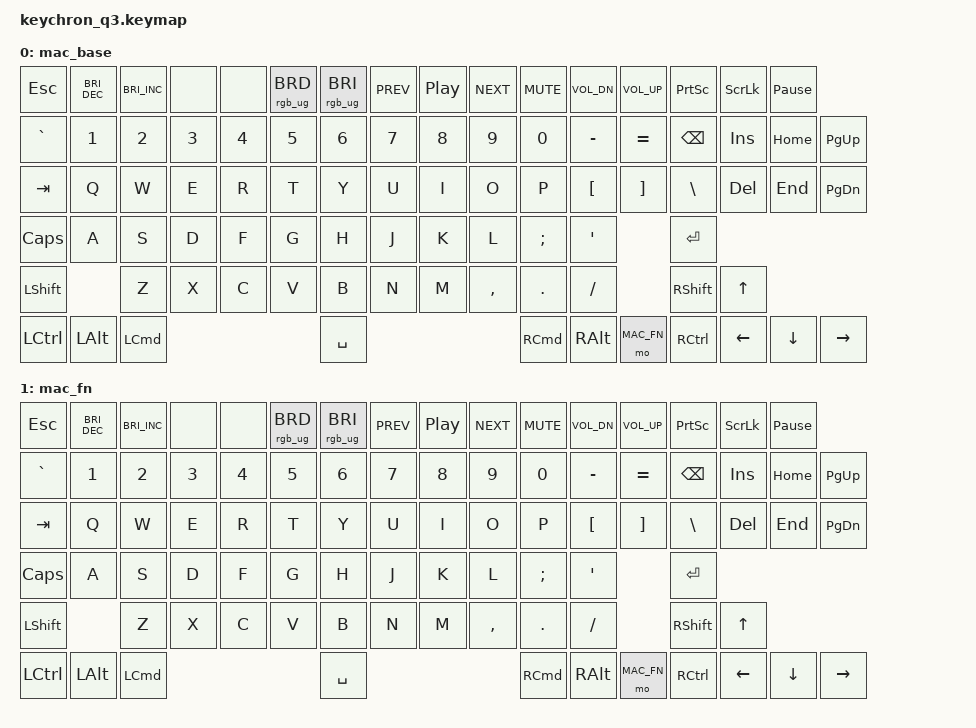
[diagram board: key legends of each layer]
/*
 * Copyright (c) 2022-2023 XiNGRZ
 * SPDX-License-Identifier: MIT
 */

#include <behaviors.dtsi>
#include <dt-bindings/zmk/keys.h>
#include <dt-bindings/zmk/rgb.h>

#define MAC_BASE 0
#define MAC_FN 1
#define WIN_BASE 2
#define WIN_FN 3

/ {
	macros {
		lock_mac: lock_mac {
			label = "lock_mac";
			compatible = "zmk,behavior-macro";
			#binding-cells = <0>;
			bindings =
				<&macro_press   &kp LCTRL>,
				<&macro_press   &kp LCMD>,
				<&macro_tap     &kp Q>,
				<&macro_release &kp LCMD>,
				<&macro_release &kp LCTRL>;
		};

		lock_win: lock_win {
			label = "lock_mac";
			compatible = "zmk,behavior-macro";
			#binding-cells = <0>;
			bindings =
				<&macro_press   &kp RWIN>,
				<&macro_tap     &kp L>,
				<&macro_release &kp RWIN>;
		};
	};

  /* TODO(ibash) setup keymaps */
	keymap {
		compatible = "zmk,keymap";

		mac_base {
			bindings = <
				&kp ESC   &kp C_BRI_DEC &kp C_BRI_INC &none   &none   &rgb_ug RGB_BRD &rgb_ug RGB_BRI &kp C_PREV  &kp C_PP  &kp C_NEXT  &kp C_MUTE  &kp C_VOL_DN  &kp C_VOL_UP  &kp PSCRN  &kp SLCK  &kp PAUSE_BREAK
				&kp GRAVE &kp N1        &kp N2        &kp N3  &kp N4  &kp N5          &kp N6          &kp N7      &kp N8    &kp N9      &kp N0      &kp MINUS     &kp EQUAL     &kp BSPC   &kp INS   &kp HOME  &kp PG_UP
				&kp TAB   &kp Q         &kp W         &kp E   &kp R   &kp T           &kp Y           &kp U       &kp I     &kp O       &kp P       &kp LBKT      &kp RBKT      &kp BSLH   &kp DEL   &kp END   &kp PG_DN
				&kp CLCK  &kp A         &kp S         &kp D   &kp F   &kp G           &kp H           &kp J       &kp K     &kp L       &kp SEMI    &kp SQT                     &kp RET                      
				&kp LSHFT               &kp Z         &kp X   &kp C   &kp V           &kp B           &kp N       &kp M     &kp COMMA   &kp DOT     &kp FSLH                    &kp RSHFT &kp UP
				&kp LCTRL &kp LALT      &kp LCMD                                      &kp SPACE                                         &kp RCMD    &kp RALT      &mo MAC_FN    &kp RCTRL     &kp LEFT  &kp DOWN  &kp RIGHT
			>;
			/*sensor-bindings = <&inc_dec_kp C_VOL_DN C_VOL_UP>;*/
		};

    /* TODO(ibash) make this trans and fn */
		mac_fn {
			bindings = <
				&kp ESC   &kp C_BRI_DEC &kp C_BRI_INC &none   &none   &rgb_ug RGB_BRD &rgb_ug RGB_BRI &kp C_PREV  &kp C_PP  &kp C_NEXT  &kp C_MUTE  &kp C_VOL_DN  &kp C_VOL_UP  &kp PSCRN  &kp SLCK  &kp PAUSE_BREAK
				&kp GRAVE &kp N1        &kp N2        &kp N3  &kp N4  &kp N5          &kp N6          &kp N7      &kp N8    &kp N9      &kp N0      &kp MINUS     &kp EQUAL     &kp BSPC   &kp INS   &kp HOME  &kp PG_UP
				&kp TAB   &kp Q         &kp W         &kp E   &kp R   &kp T           &kp Y           &kp U       &kp I     &kp O       &kp P       &kp LBKT      &kp RBKT      &kp BSLH   &kp DEL   &kp END   &kp PG_DN
				&kp CLCK  &kp A         &kp S         &kp D   &kp F   &kp G           &kp H           &kp J       &kp K     &kp L       &kp SEMI    &kp SQT                     &kp RET                      
				&kp LSHFT               &kp Z         &kp X   &kp C   &kp V           &kp B           &kp N       &kp M     &kp COMMA   &kp DOT     &kp FSLH                    &kp RSHFT &kp UP
				&kp LCTRL &kp LALT      &kp LCMD                                      &kp SPACE                                         &kp RCMD    &kp RALT      &mo MAC_FN    &kp RCTRL     &kp LEFT  &kp DOWN  &kp RIGHT
			>;
			/*sensor-bindings = <&inc_dec_kp C_VOL_DN C_VOL_UP>;*/
		};


    /*
		mac_fn {
			bindings = <
				&trans          &kp F1          &kp F2          &kp F3          &kp F4          &kp F5          &kp F6  &kp F7  &kp F8  &kp F9  &kp F10 &kp F11 &kp F12 &trans          &trans
				&trans          &trans          &trans          &trans          &trans          &trans          &trans  &trans  &trans  &trans  &trans  &trans  &trans  &trans          &trans
				&rgb_ug RGB_TOG &rgb_ug RGB_EFF &rgb_ug RGB_BRI &rgb_ug RGB_HUI &rgb_ug RGB_SAI &rgb_ug RGB_SPI &trans  &trans  &trans  &trans  &trans  &trans  &trans  &trans          &trans
				&trans          &rgb_ug RGB_EFR &rgb_ug RGB_BRD &rgb_ug RGB_HUD &rgb_ug RGB_SAD &rgb_ug RGB_SPD &trans  &trans  &trans  &trans  &trans  &trans          &trans          &trans
				&trans                          &trans          &trans          &trans          &trans          &trans  &trans  &trans  &trans  &trans  &trans          &trans  &trans
				&trans          &trans          &trans                          &trans                          &trans                          &trans  &trans  &trans  &trans  &trans  &trans
			>;
			sensor-bindings = <&inc_dec_kp C_BRI_DEC C_BRI_INC>;
		};

		win_base {
			bindings = <
				&kp ESC   &kp F1    &kp F2    &kp F3  &kp F4  &kp F5  &kp F6    &kp F7  &kp F8  &kp F9    &kp F10   &kp F11     &kp F12   &kp DEL             &lock_win
				&kp GRAVE &kp N1    &kp N2    &kp N3  &kp N4  &kp N5  &kp N6    &kp N7  &kp N8  &kp N9    &kp N0    &kp MINUS   &kp EQUAL &kp BSPC            &kp PG_UP
				&kp TAB   &kp Q     &kp W     &kp E   &kp R   &kp T   &kp Y     &kp U   &kp I   &kp O     &kp P     &kp LBKT    &kp RBKT  &kp BSLH            &kp PG_DN
				&kp CLCK  &kp A     &kp S     &kp D   &kp F   &kp G   &kp H     &kp J   &kp K   &kp L     &kp SEMI  &kp SQT               &kp RET             &kp HOME
				&kp LSHFT           &kp Z     &kp X   &kp C   &kp V   &kp B     &kp N   &kp M   &kp COMMA &kp DOT   &kp FSLH              &kp RSHFT &kp UP
				&kp LCTRL &kp LALT  &kp LWIN          &trans          &kp SPACE                           &kp RWIN  &mo WIN_FN  &kp RCTRL &kp LEFT  &kp DOWN  &kp RIGHT
			>;
			sensor-bindings = <&inc_dec_kp C_VOL_DN C_VOL_UP>;
		};

		win_fn {
			bindings = <
				&trans          &kp C_BRI_DEC   &kp C_BRI_INC   &none           &none           &rgb_ug RGB_BRD &rgb_ug RGB_BRI &kp C_PREV  &kp C_PP  &kp C_NEXT  &kp C_MUTE  &kp C_VOL_DN  &kp C_VOL_UP  &trans          &trans
				&trans          &trans          &trans          &trans          &trans          &trans          &trans          &trans      &trans    &trans      &trans      &trans        &trans        &trans          &trans
				&rgb_ug RGB_TOG &rgb_ug RGB_EFF &rgb_ug RGB_BRI &rgb_ug RGB_HUI &rgb_ug RGB_SAI &rgb_ug RGB_SPI &trans          &trans      &trans    &trans      &trans      &trans        &trans        &trans          &trans
				&trans          &rgb_ug RGB_EFR &rgb_ug RGB_BRD &rgb_ug RGB_HUD &rgb_ug RGB_SAD &rgb_ug RGB_SPD &trans          &trans      &trans    &trans      &trans      &trans                      &trans          &trans
				&trans                          &trans          &trans          &trans          &trans          &trans          &trans      &trans    &trans      &trans      &trans                      &trans  &trans
				&trans          &trans          &trans                          &trans                          &trans                                            &trans      &trans        &trans        &trans  &trans  &trans
			>;
			sensor-bindings = <&inc_dec_kp C_BRI_DEC C_BRI_INC>;
		};
    */
	};
};
